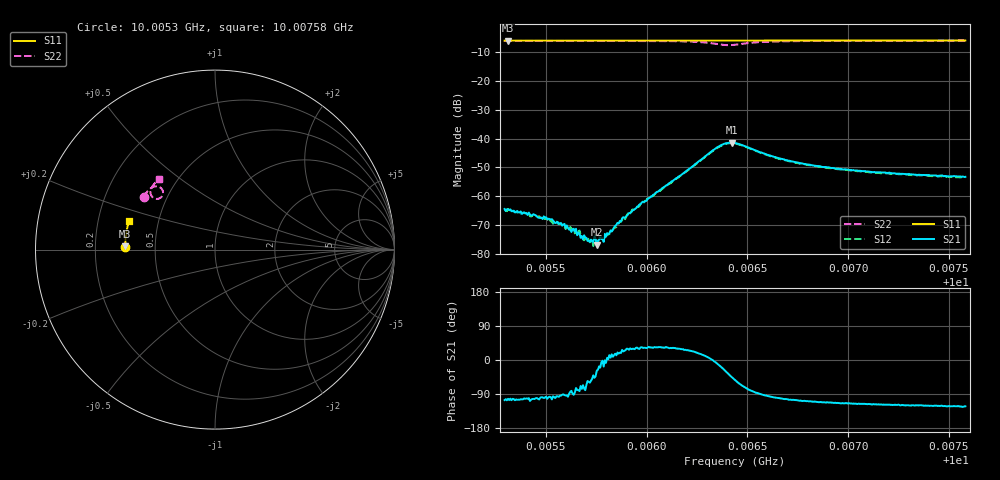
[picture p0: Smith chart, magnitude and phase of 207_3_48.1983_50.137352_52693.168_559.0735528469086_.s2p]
#  HZ  S  RI  R  50.00
! Rohde & Schwarz Vector Network Analyzer
! Rohde-Schwarz,ZNB20-2Port,1311601062101988,3.16
! Created: UTC 3/20/2024, 11:45:17 AM
! freq[Hz]  re:S11  im:S11  re:S21  im:S21  re:S12  im:S12  re:S22  im:S22
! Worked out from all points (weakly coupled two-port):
!   401 points, 10.0053 GHz to 10.00758 GHz, reference 50 ohm
!   highest |S21| = -41.42 dB at 10.00642 GHz (marker M1); lowest = -76.8 dB at 10.00575 GHz (marker M2)
!   lowest |S11| = -6.0 dB at 10.00531 GHz (marker M3), VSWR 3.00, Z = 16.7 + j0.795 ohm
!   |S11| at or under -10 dB: nowhere
!   |S22| runs from -7.6 to -6.0 dB; largest |S21 - S12| = 0.0005
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1.0005295e10  -0.5001 0.0167  -0.000162 -0.000577  -0.00014 -0.000572  -0.3982 0.2952
1.0005312e10  -0.5 0.0179  -0.000128 -0.00058  -0.000116 -0.00059  -0.3976 0.2965
1.0005404e10  -0.5001 0.0237  -0.000101 -0.000497  -9.26e-05 -0.000505  -0.3938 0.3018
1.0005524e10  -0.4998 0.0315  -5.35e-05 -0.000393  -3.13e-05 -0.000365  -0.3887 0.309
1.0005627e10  -0.4995 0.0384  3.66e-05 -0.000237  4.88e-05 -0.000266  -0.3836 0.3153
1.000565e10  -0.4995 0.0398  7.52e-05 -0.000261  3.63e-05 -0.000247  -0.3826 0.3167
1.0005678e10  -0.4993 0.0418  4.85e-05 -0.000198  5.95e-05 -0.000195  -0.3813 0.3185
1.0005724e10  -0.4993 0.0445  0.000105 -0.000146  0.000117 -0.000125  -0.3787 0.3212
1.0005752e10  -0.4992 0.0463  0.000128 -6.83e-05  0.000132 -8.17e-05  -0.3771 0.3231
1.0005764e10  -0.4991 0.0471  0.000168 -5.08e-05  0.000165 -0.000101  -0.3764 0.3237
1.0005775e10  -0.4991 0.048  0.000179 -1.83e-05  0.000187 -5.15e-05  -0.3759 0.3246
1.0005804e10  -0.4989 0.0497  0.000228 2.34e-05  0.000208 -1.65e-05  -0.3743 0.3264
1.0005918e10  -0.4983 0.0572  0.000438 0.000262  0.000447 0.000242  -0.3669 0.3338
1.0006061e10  -0.4974 0.0664  0.00102 0.000694  0.001 0.000718  -0.3546 0.3439
1.0006341e10  -0.4946 0.0845  0.00668 -0.000658  0.00657 -0.000332  -0.2924 0.3317
1.0006381e10  -0.4941 0.0867  0.00733 -0.00326  0.0073 -0.00283  -0.2908 0.3075
1.0006421e10  -0.4939 0.0889  0.00603 -0.00598  0.0062 -0.00554  -0.3074 0.2866
1.0006438e10  -0.4937 0.09  0.005 -0.00671  0.00527 -0.0063  -0.3178 0.2829
1.0006656e10  -0.4922 0.1039  -0.00082 -0.00448  -0.000607 -0.00443  -0.3589 0.3274
1.0006821e10  -0.4903 0.1144  -0.00117 -0.00324  -0.001 -0.00323  -0.3517 0.3474
1.0007204e10  -0.4847 0.1386  -0.00119 -0.00227  -0.00104 -0.00223  -0.3317 0.3742
1.0007582e10  -0.4783 0.1621  -0.00115 -0.00183  -0.00104 -0.00184  -0.3123 0.3934
